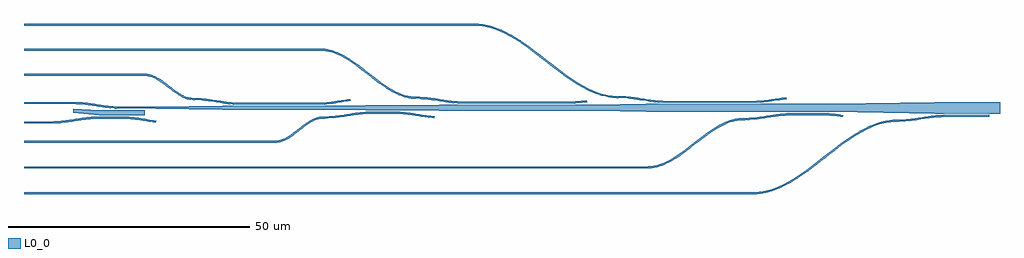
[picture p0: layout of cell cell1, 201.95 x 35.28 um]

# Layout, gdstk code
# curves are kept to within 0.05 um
import gdstk
lib = gdstk.Library(unit=1e-6, precision=1e-09)
def P(c, l, *ps):  # polygons
    for p in ps: c.add(gdstk.Polygon(p, *l))
L0_0 = (0, 0)

cell1 = lib.new_cell('cell1')
P(cell1, L0_0, [(-189.863,-3.236),(-195.2,-3.235),(-195.2,-2.835),(-188.402,-2.796),(-186.589,-2.618),(-182.384,-2.003),(-180.097,-1.837),(-174.531,-1.837),(-173.504,-1.884),(-171.616,-2.083),(-167.864,-2.641),(-167.917,-3.038),(-171.889,-2.452),(-173.702,-2.274),(-180.282,-2.245),(-182.739,-2.452),(-187.339,-3.111)],
  [(-44.696,-17.886),(-195.2,-17.882),(-195.2,-17.482),(-43.578,-17.446),(-42.193,-17.26),(-40.808,-16.919),(-38.956,-16.235),(-37.096,-15.31),(-35.239,-14.184),(-33.359,-12.883),(-26.808,-7.844),(-24.151,-5.953),(-22.27,-4.794),(-21.152,-4.205),(-20.029,-3.679),(-18.497,-3.114),(-17.358,-2.809),(-16.211,-2.595),(-12.333,-2.369),(-7.849,-1.731),(-5.961,-1.531),(-4.933,-1.483),(4.5,-1.482),(4.5,-1.882),(-4.81,-1.884),(-6.309,-1.961),(-12.176,-2.757),(-15.883,-2.962),(-17.268,-3.199),(-18.193,-3.444),(-19.119,-3.755),(-20.974,-4.563),(-21.904,-5.053),(-23.773,-6.188),(-26.568,-8.164),(-33.292,-13.332),(-35.179,-14.626),(-37.072,-15.758),(-38.971,-16.684),(-40.876,-17.364),(-42.789,-17.768)],
  [(-66.576,-12.552),(-195.2,-12.548),(-195.2,-12.148),(-65.771,-12.124),(-64.856,-12.001),(-63.939,-11.775),(-62.721,-11.326),(-61.473,-10.705),(-60.247,-9.962),(-59.005,-9.104),(-54.16,-5.386),(-52.577,-4.292),(-51.309,-3.539),(-50.391,-3.079),(-48.755,-2.475),(-47.467,-2.213),(-44.214,-2.035),(-39.73,-1.397),(-37.842,-1.197),(-36.814,-1.149),(-29.481,-1.148),(-27.591,-1.249),(-25.705,-1.486),(-25.761,-1.882),(-27.514,-1.66),(-29.075,-1.556),(-37.31,-1.569),(-39.17,-1.729),(-44.057,-2.423),(-47.296,-2.601),(-48.821,-2.919),(-50.667,-3.661),(-52.515,-4.733),(-54.386,-6.056),(-58.923,-9.541),(-60.185,-10.403),(-61.453,-11.156),(-62.728,-11.771),(-64.007,-12.22),(-65.295,-12.482)],
  [(-143.478,-7.223),(-195.2,-7.218),(-195.2,-6.818),(-142.985,-6.806),(-142.095,-6.637),(-140.877,-6.108),(-139.642,-5.305),(-137.312,-3.514),(-136.354,-2.851),(-135.418,-2.328),(-134.407,-1.955),(-133.744,-1.836),(-130.833,-1.675),(-126.632,-1.067),(-124.744,-0.867),(-123.716,-0.819),(-118.15,-0.819),(-115.863,-0.986),(-111.993,-1.555),(-110.24,-1.752),(-110.277,-2.151),(-117.035,-1.276),(-118.273,-1.22),(-123.252,-1.218),(-125.734,-1.36),(-130.959,-2.093),(-133.884,-2.265),(-134.776,-2.501),(-135.991,-3.103),(-137.225,-3.952),(-139.575,-5.754),(-140.855,-6.558),(-141.505,-6.862),(-142.159,-7.08),(-142.823,-7.199)],
  [(-179.664,-1.535),(-184.964,-1.018),(-184.964,-0.2),(-179.664,-0.5),(-170.264,-0.5),(-170.264,-1.535)],
  [(-6.75,-1.182),(-28.006,-0.848),(-66.493,-0.816),(-77.343,-0.645),(-109.293,-0.645),(-130.822,-0.418),(-154.072,-0.418),(-167.914,-0.2),(-175.397,-0.198),(-177.684,-0.032),(-181.889,0.583),(-184.035,0.778),(-195.2,0.8),(-195.2,1.2),(-183.9,1.175),(-182.011,1.003),(-177.438,0.344),(-174.933,0.2),(-167.914,0.2),(-154.072,0.418),(-130.822,0.418),(-109.293,0.645),(-77.343,0.645),(-66.493,0.816),(-28.006,0.848),(-6.75,1.182),(6.75,1.182),(6.75,-1.182)],
  [(-149.998,0.617),(-152.521,0.742),(-157.408,1.436),(-158.908,1.576),(-160.658,1.636),(-161.321,1.755),(-162.332,2.128),(-163.268,2.651),(-164.226,3.314),(-166.556,5.105),(-167.488,5.732),(-168.703,6.334),(-169.608,6.572),(-170.205,6.618),(-195.2,6.618),(-195.2,7.018),(-169.737,6.999),(-168.7,6.765),(-167.427,6.168),(-166.168,5.321),(-163.209,3.094),(-162.295,2.564),(-161.384,2.198),(-160.494,2.029),(-159.133,1.992),(-157.477,1.849),(-153.607,1.28),(-151.744,1.076),(-150.166,1.018),(-134.091,1.026),(-131.908,1.199),(-127.65,1.82),(-127.597,1.423),(-131.744,0.815),(-133.633,0.643)],
  [(-103.766,0.844),(-105.029,0.87),(-106.691,1.013),(-111.801,1.733),(-115.052,1.909),(-116.34,2.172),(-117.163,2.447),(-118.895,3.234),(-120.498,4.207),(-122.215,5.435),(-126.599,8.805),(-128.448,10.046),(-129.683,10.731),(-130.913,11.267),(-132.138,11.635),(-133.054,11.792),(-133.971,11.845),(-195.203,11.845),(-195.203,12.251),(-134.167,12.255),(-132.883,12.187),(-131.596,11.924),(-130.773,11.649),(-129.954,11.317),(-128.694,10.669),(-126.511,9.245),(-121.971,5.759),(-119.488,4.05),(-117.633,3.075),(-116.405,2.622),(-115.493,2.397),(-114.577,2.274),(-111.646,2.127),(-106.756,1.433),(-104.278,1.253),(-82.359,1.253),(-80.501,1.363),(-78.746,1.587),(-78.688,1.185),(-80.574,0.946),(-82.238,0.847)],
  [(-61.905,1.014),(-63.167,1.041),(-64.801,1.182),(-69.924,1.903),(-73.814,2.13),(-75.724,2.536),(-77.627,3.217),(-79.849,4.323),(-82.513,6.014),(-85.185,7.976),(-90.949,12.418),(-93.753,14.301),(-95.614,15.333),(-97.471,16.141),(-98.859,16.584),(-100.708,16.936),(-102.068,17.015),(-195.189,17.015),(-195.189,17.395),(-102.278,17.398),(-100.372,17.28),(-98.462,16.874),(-97.339,16.497),(-96.222,16.046),(-94.337,15.087),(-92.769,14.135),(-90.882,12.84),(-84.166,7.68),(-81.363,5.696),(-79.496,4.565),(-77.638,3.641),(-75.79,2.958),(-74.863,2.713),(-73.015,2.43),(-69.758,2.269),(-64.572,1.539),(-62.402,1.396),(-43.887,1.404),(-41.703,1.576),(-37.456,2.196),(-37.405,1.82),(-41.157,1.262),(-43.419,1.041)])

lib.write_gds('cell1.gds')
